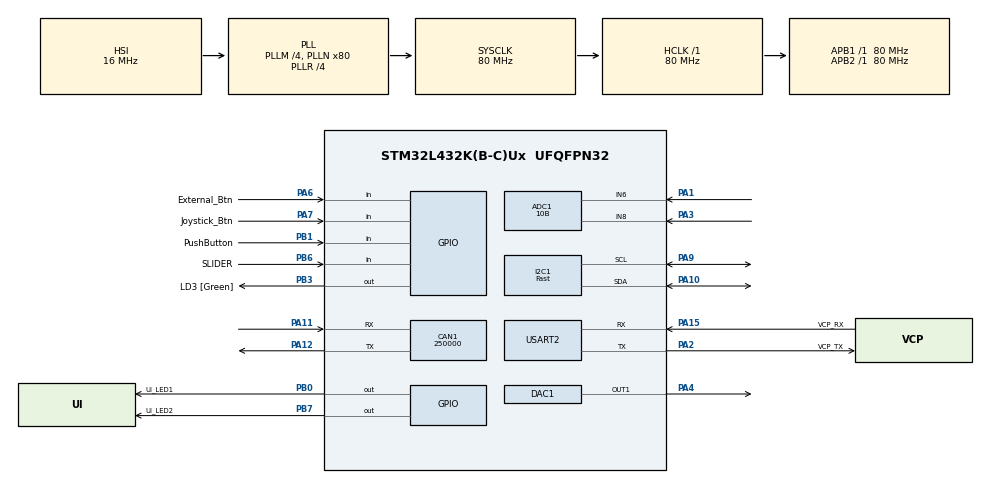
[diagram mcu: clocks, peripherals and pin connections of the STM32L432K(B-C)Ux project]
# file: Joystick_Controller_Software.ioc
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ADC1.ClockPrescaler=ADC_CLOCK_ASYNC_DIV64
ADC1.ContinuousConvMode=DISABLE
ADC1.DiscontinuousConvMode=ENABLE
ADC1.EnableInjectedConversion=ENABLE
ADC1.EnableRegularConversion=DISABLE
ADC1.InjMonitoredBy-2\#ChannelInjectedConversion=__NULL
ADC1.InjMonitoredBy-3\#ChannelInjectedConversion=__NULL
ADC1.InjNumberOfConversion=2
ADC1.InjectedChannel-2\#ChannelInjectedConversion=ADC_CHANNEL_6
ADC1.InjectedChannel-3\#ChannelInjectedConversion=ADC_CHANNEL_8
ADC1.InjectedOffsetNumber-2\#ChannelInjectedConversion=ADC_OFFSET_NONE
ADC1.InjectedOffsetNumber-3\#ChannelInjectedConversion=ADC_OFFSET_NONE
ADC1.InjectedRank-2\#ChannelInjectedConversion=1
ADC1.InjectedRank-3\#ChannelInjectedConversion=2
ADC1.InjectedSamplingTime-2\#ChannelInjectedConversion=ADC_SAMPLETIME_2CYCLES_5
ADC1.InjectedSamplingTime-3\#ChannelInjectedConversion=ADC_SAMPLETIME_2CYCLES_5
ADC1.NbrOfDiscConversion=2
ADC1.Rank1_Channel=ADC_CHANNEL_6
ADC1.Rank2_Channel=ADC_CHANNEL_8
ADC1.Resolution=ADC_RESOLUTION_10B
ADC1.master=1
CAN1.BS1=CAN_BS1_11TQ
CAN1.BS2=CAN_BS2_8TQ
CAN1.CalculateBaudRate=250000
CAN1.CalculateTimeBit=4000
CAN1.CalculateTimeQuantum=200.0
Dma.ADC1.0.Direction=DMA_PERIPH_TO_MEMORY
Dma.ADC1.0.Instance=DMA1_Channel1
Dma.ADC1.0.MemDataAlignment=DMA_MDATAALIGN_HALFWORD
Dma.ADC1.0.MemInc=DMA_MINC_ENABLE
Dma.ADC1.0.Mode=DMA_CIRCULAR
Dma.ADC1.0.PeriphDataAlignment=DMA_PDATAALIGN_HALFWORD
Dma.ADC1.0.PeriphInc=DMA_PINC_DISABLE
Dma.ADC1.0.Priority=DMA_PRIORITY_LOW
Dma.Request0=ADC1
I2C1.I2C_Rise_Time=0
I2C1.I2C_Speed_Mode=I2C_Fast
I2C1.Timing=0x00712989
Mcu.Family=STM32L4
Mcu.Name=STM32L432K(B-C)Ux
Mcu.Package=UFQFPN32
NVIC.ADC1_IRQn=true\:2\:0\:true\:false\:true\:true\:true\:true
NVIC.CAN1_RX0_IRQn=true\:1\:0\:true\:false\:true\:true\:true\:true
NVIC.CAN1_TX_IRQn=true\:1\:0\:true\:false\:true\:true\:true\:true
NVIC.DMA1_Channel1_IRQn=true\:0\:0\:false\:false\:true\:false\:true\:true
NVIC.PriorityGroup=NVIC_PRIORITYGROUP_4
NVIC.TIM2_IRQn=true\:0\:0\:false\:false\:true\:true\:true\:true
PA1.Signal=ADCx_IN6
PA10.Mode=I2C
PA10.Signal=I2C1_SDA
PA11.Mode=CAN_Activate
PA11.Signal=CAN1_RX
PA12.Mode=CAN_Activate
PA12.Signal=CAN1_TX
PA13\ (JTMS-SWDIO).GPIO_Label=SWDIO
PA13\ (JTMS-SWDIO).Mode=Serial_Wire
PA13\ (JTMS-SWDIO).Signal=SYS_JTMS-SWDIO
PA14\ (JTCK-SWCLK).GPIO_Label=SWCLK
PA14\ (JTCK-SWCLK).Mode=Serial_Wire
PA14\ (JTCK-SWCLK).Signal=SYS_JTCK-SWCLK
PA15\ (JTDI).GPIO_Label=VCP_RX
PA15\ (JTDI).Mode=Asynchronous
PA15\ (JTDI).Signal=USART2_RX
PA2.GPIO_Label=VCP_TX
PA2.Mode=Asynchronous
PA2.Signal=USART2_TX
PA3.Signal=ADCx_IN8
PA4.Signal=COMP_DAC11_group
PA5.Signal=ADCx_IN10
PA6.GPIO_Label=External_Btn
PA6.Signal=GPIO_Input
PA7.GPIO_Label=Joystick_Btn
PA7.Signal=GPIO_Input
PA9.Mode=I2C
PA9.Signal=I2C1_SCL
PB0.GPIO_Label=UI_LED1
PB0.GPIO_ModeDefaultOutputPP=GPIO_MODE_OUTPUT_OD
PB0.GPIO_PuPd=GPIO_NOPULL
PB0.Signal=GPIO_Output
PB1.GPIO_Label=PushButton
PB1.Signal=GPIO_Input
PB3\ (JTDO-TRACESWO).GPIO_Label=LD3 [Green]
PB3\ (JTDO-TRACESWO).Signal=GPIO_Output
PB6.GPIO_Label=SLIDER
PB6.Signal=GPIO_Input
PB7.GPIO_Label=UI_LED2
PB7.GPIO_ModeDefaultOutputPP=GPIO_MODE_OUTPUT_OD
PB7.GPIO_PuPd=GPIO_NOPULL
PB7.Signal=GPIO_Output
PC14-OSC32_IN\ (PC14).Mode=LSE-External-Oscillator
PC14-OSC32_IN\ (PC14).Signal=RCC_OSC32_IN
PC15-OSC32_OUT\ (PC15).Mode=LSE-External-Oscillator
PC15-OSC32_OUT\ (PC15).Signal=RCC_OSC32_OUT
ProjectManager.HeapSize=0x200
ProjectManager.StackSize=0x400
ProjectManager.TargetToolchain=STM32CubeIDE
RCC.ADCFreq_Value=32000000
RCC.AHBFreq_Value=80000000
RCC.APB1Freq_Value=80000000
RCC.APB1TimFreq_Value=80000000
RCC.APB2Freq_Value=80000000
RCC.APB2TimFreq_Value=80000000
RCC.CortexFreq_Value=80000000
RCC.HCLKFreq_Value=80000000
RCC.HSE_VALUE=8000000
RCC.HSI16_VALUE=16000000
RCC.HSI48_VALUE=48000000
RCC.HSI_VALUE=16000000
RCC.I2C1CLockSelection=RCC_I2C1CLKSOURCE_SYSCLK
RCC.MSI_VALUE=4000000
RCC.PLLM=4
RCC.PLLMUL=RCC_PLLMUL_4
RCC.PLLN=80
RCC.PLLR=RCC_PLLR_DIV4
RCC.PLLSAI1N=16
RCC.PLLSourceVirtual=RCC_PLLSOURCE_HSI
RCC.SYSCLKFreq_VALUE=80000000
RCC.SYSCLKSource=RCC_SYSCLKSOURCE_PLLCLK
RCC.USBFreq_Value=32000000
RCC.VCOOutputFreq_Value=320000000
SH.ADCx_IN10.0=ADC1_IN10
SH.ADCx_IN6.0=ADC1_IN6,IN6-Single-Ended
SH.ADCx_IN8.0=ADC1_IN8,IN8-Single-Ended
SH.COMP_DAC11_group.0=DAC1_OUT1,DAC_OUT1
TIM2.Period=999
TIM2.Prescaler=79
USART2.VirtualMode-Asynchronous=VM_ASYNC
VP_TIM2_VS_ClockSourceINT.Mode=Internal
board=NUCLEO-L432KC

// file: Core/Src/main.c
/* USER CODE BEGIN Header */
/**
  ******************************************************************************
  * @file           : main.c
  * @brief          : Main program body
  ******************************************************************************
  * @attention
  *
  * Copyright (c) 2026 STMicroelectronics.
  * All rights reserved.
  *
  * This software is licensed under terms that can be found in the LICENSE file
  * in the root directory of this software component.
  * If no LICENSE file comes with this software, it is provided AS-IS.
  *
  ******************************************************************************
  */
/* USER CODE END Header */
#include "main.h"

/* USER CODE BEGIN Includes */

#include "Project_Defines.h"
//#include "301/CO_ODinterface.h"

/* USER CODE END Includes */

ADC_HandleTypeDef hadc1;
DMA_HandleTypeDef hdma_adc1;

CAN_HandleTypeDef hcan1;

DAC_HandleTypeDef hdac1;

I2C_HandleTypeDef hi2c1;

TIM_HandleTypeDef htim2;

UART_HandleTypeDef huart2;

/* USER CODE BEGIN PV */

Nunchuck_ST Nunchuck_1;
Joystick js;
bool switch_Nunchuck_Joystick = false;

uint32_t adc_ch6 = 0; // Channel 6 of the ADC
uint32_t adc_ch8 = 0; // Channel 8 of the ADC
bool lectureADC = false;
I2C_HandleTypeDef *phi2c1;

/* USER CODE END PV */

void SystemClock_Config(void);
static void MX_GPIO_Init(void);
static void MX_DMA_Init(void);
static void MX_USART2_UART_Init(void);
static void MX_ADC1_Init(void);
static void MX_CAN1_Init(void);
static void MX_DAC1_Init(void);
static void MX_TIM2_Init(void);
static void MX_I2C1_Init(void);
/* USER CODE BEGIN PFP */

void physicalSwitch(){

	//Lit et stock l'état du switch
	switch_Nunchuck_Joystick = HAL_GPIO_ReadPin(SLIDER_GPIO_Port, SLIDER_Pin);

	static bool old_switch_Nunchuck_Joystick = false;

	//Active ou désactive les modes joystick et nunchuck
	if (switch_Nunchuck_Joystick != old_switch_Nunchuck_Joystick){
		if (switch_Nunchuck_Joystick){
			//Mode nunchuck
			XF_post(nunchuckProcess, E_SEND, 0);
		} else {
			//Mode joystick
			XF_post(nunchuckProcess, E_NON_USED, 0);
			XF_post(joystickProssess, E_DEFAULT, 0);
		}
	}
	old_switch_Nunchuck_Joystick = switch_Nunchuck_Joystick;

}

void Nunchuck_Init(){

	uint8_t data[2];

	data[0] = 0xF0;
	data[1] = 0x55;

	HAL_I2C_Master_Transmit(&hi2c1, NUNCHUCK_ADRR, data, 2, HAL_MAX_DELAY);

	HAL_Delay(10);

	//----------------------------

	data[0] = 0xFB;
	data[1] = 0x00;

	HAL_I2C_Master_Transmit(&hi2c1, NUNCHUCK_ADRR, data, 2, HAL_MAX_DELAY);

	HAL_Delay(10);

}

/* USER CODE END PFP */

/* USER CODE BEGIN 0 */
CANopenNodeSTM32 canOpenNodeSTM32;

static ODR_t storeCallback(OD_stream_t *stream, const void *buf,OD_size_t count, OD_size_t *countWritten)
{
	if (stream->subIndex == 4) // save manufacturer defined parameters (subindex 4)
	{
		if(strncmp(buf,"save",4) == 0) // check if «save» string has been written (Byte0‐3)
		{
			FlashErase(1); // erase flash
			FlashWrite(0,0x1234567812345678); // signature

			FlashWrite(ZEROLIMIT_ADR,OD_PERSIST_COMM.x2001_zeroLimit); // save your parameters values
			FlashWrite(NUNCHUCK_OFFSET_ADR,OD_PERSIST_COMM.x2002_nunchuckOffsets); // save your parameters values
			FlashWrite(JOYSTICK_OFFSET_ADR,OD_PERSIST_COMM.x2003_joystickOffsets); // save your parameters values
			FlashWrite(TRESHOLD_NEW_VALUE_ADR,OD_PERSIST_COMM.x2004_treshold_NewValue); // save your parameters values
		}
	}
}

static OD_extension_t my_extensionJoystick;

void mapCallbacks(OD_t *od) {

	/* Find the OD entry for Index 0x1010 */
	OD_entry_t *entry = OD_find(od, 0x1010); // Find the OD entry for joystick value
	if (entry != NULL) {
		// Assign the custom write function (set read to NULL if not needed)
		my_extensionJoystick.read = NULL;
		my_extensionJoystick.write = storeCallback;
		my_extensionJoystick.object = NULL; // Can be used to store private data
		// Register the extension to the OD entry
		OD_extension_init(entry, &my_extensionJoystick);
	}
}

void HAL_TIM_PeriodElapsedCallback(TIM_HandleTypeDef *htim)
{
	// you can check the good timer ... if(htim ...
	canopen_app_interrupt();
	XF_decrementAndQueueTimers();
}

void HAL_ADCEx_InjectedConvCpltCallback(ADC_HandleTypeDef* hadc){
	if(hadc->Instance == ADC1){
		adc_ch6 = HAL_ADCEx_InjectedGetValue(hadc, ADC_INJECTED_RANK_1);
		adc_ch8 = HAL_ADCEx_InjectedGetValue(hadc, ADC_INJECTED_RANK_2);
	}
}

/* USER CODE END 0 */

int main(void)
{

  /* MCU Configuration--------------------------------------------------------*/

  /* Reset of all peripherals, Initializes the Flash interface and the Systick. */
  HAL_Init();

  /* Configure the system clock */
  SystemClock_Config();

  /* Initialize all configured peripherals */
  MX_GPIO_Init();
  MX_DMA_Init();
  MX_USART2_UART_Init();
  MX_ADC1_Init();
  MX_CAN1_Init();
  MX_DAC1_Init();
  MX_TIM2_Init();
  MX_I2C1_Init();
  /* USER CODE BEGIN 2 */
  HAL_TIM_Base_Start_IT(&htim2);

  XF_init();

  // before canopen_app_init()
  if(FlashRead(0) == 0x1234567812345678)
  {
	  OD_PERSIST_COMM.x2001_zeroLimit = FlashRead(ZEROLIMIT_ADR);
	  OD_PERSIST_COMM.x2002_nunchuckOffsets[0] = FlashRead(NUNCHUCK_OFFSET_ADR);
	  OD_PERSIST_COMM.x2002_nunchuckOffsets[1] = FlashRead(NUNCHUCK_OFFSET_ADR + 8);

	  OD_PERSIST_COMM.x2003_joystickOffsets[0] = FlashRead(JOYSTICK_OFFSET_ADR);
	  OD_PERSIST_COMM.x2003_joystickOffsets[1] = FlashRead(JOYSTICK_OFFSET_ADR + 8);

	  OD_PERSIST_COMM.x2004_treshold_NewValue = FlashRead(TRESHOLD_NEW_VALUE_ADR);
  }
//  else
//  {
//	  FlashErase(1);
//	  FlashWrite(0, 0x1234567812345678);
//
//	  FlashWrite(8, OD_PERSIST_COMM.x2001_zeroLimit);
//	  FlashWrite(24, OD_PERSIST_COMM.x2003_joystickOffsets[0]);
//	  FlashWrite(32, OD_PERSIST_COMM.x2003_joystickOffsets[1]);
//  }

  // 1. Map the CANopen instance to your hardware (hcan1 is usually defined by CubeMX)
  canOpenNodeSTM32.CANHandle = &hcan1;
  // 2. Set your hardware initialization function (defined in can.c)
  canOpenNodeSTM32.HWInitFunction = MX_CAN1_Init;
  // 3. Map the timer used for CANopen heartbeat and fast tasks (e.g., TIM2)
  canOpenNodeSTM32.timerHandle = &htim2;
  // 4. Configure Node‐ID (1‐127) and Baudrate (e.g., 125, 250, 500, 1000)
  canOpenNodeSTM32.desiredNodeID = 8;
  canOpenNodeSTM32.baudrate = 250;
  // 5. Initialize the application
  mapCallbacks(OD);
  canopen_app_init(&canOpenNodeSTM32);

  //Initialise le nunchuck
  Nunchuck_Init();

  //Initialise les machines d'état
  XF_post(nunchuckProcess, E_INIT, 0);
  XF_post(joystickProssess, E_INIT, 0);

  //On indique NON_USED à la machine d'état nunchuck si le switch est par défault sur joystick
  if(!HAL_GPIO_ReadPin(SLIDER_GPIO_Port, SLIDER_Pin)) XF_post(nunchuckProcess, E_NON_USED, 0);

  //Affectation du pointer sur l'adresse de l'i2c pour avoir accès depuis tout les fichiers
  phi2c1 = &hi2c1;

  /* USER CODE END 2 */

  /* Infinite loop */
  /* USER CODE BEGIN WHILE */
  while (1)
  {
	  canopen_app_process();

    /* USER CODE END WHILE */

    /* USER CODE BEGIN 3 */

	  XF_executeOnce();

	  physicalSwitch();

	  if(lectureADC){
		  HAL_ADCEx_InjectedStart_IT(&hadc1);
		  lectureADC = false;
	  }

  }
  /* USER CODE END 3 */
}

void SystemClock_Config(void)
{
  RCC_OscInitTypeDef RCC_OscInitStruct = {0};
  RCC_ClkInitTypeDef RCC_ClkInitStruct = {0};

  /** Configure the main internal regulator output voltage
  */
  if (HAL_PWREx_ControlVoltageScaling(PWR_REGULATOR_VOLTAGE_SCALE1) != HAL_OK)
  {
    Error_Handler();
  }

  /** Initializes the RCC Oscillators according to the specified parameters
  * in the RCC_OscInitTypeDef structure.
  */
  RCC_OscInitStruct.OscillatorType = RCC_OSCILLATORTYPE_HSI;
  RCC_OscInitStruct.HSIState = RCC_HSI_ON;
  RCC_OscInitStruct.HSICalibrationValue = RCC_HSICALIBRATION_DEFAULT;
  RCC_OscInitStruct.PLL.PLLState = RCC_PLL_ON;
  RCC_OscInitStruct.PLL.PLLSource = RCC_PLLSOURCE_HSI;
  RCC_OscInitStruct.PLL.PLLM = 4;
  RCC_OscInitStruct.PLL.PLLN = 80;
  RCC_OscInitStruct.PLL.PLLP = RCC_PLLP_DIV7;
  RCC_OscInitStruct.PLL.PLLQ = RCC_PLLQ_DIV2;
  RCC_OscInitStruct.PLL.PLLR = RCC_PLLR_DIV4;
  if (HAL_RCC_OscConfig(&RCC_OscInitStruct) != HAL_OK)
  {
    Error_Handler();
  }

  /** Initializes the CPU, AHB and APB buses clocks
  */
  RCC_ClkInitStruct.ClockType = RCC_CLOCKTYPE_HCLK|RCC_CLOCKTYPE_SYSCLK
                              |RCC_CLOCKTYPE_PCLK1|RCC_CLOCKTYPE_PCLK2;
  RCC_ClkInitStruct.SYSCLKSource = RCC_SYSCLKSOURCE_PLLCLK;
  RCC_ClkInitStruct.AHBCLKDivider = RCC_SYSCLK_DIV1;
  RCC_ClkInitStruct.APB1CLKDivider = RCC_HCLK_DIV1;
  RCC_ClkInitStruct.APB2CLKDivider = RCC_HCLK_DIV1;

  if (HAL_RCC_ClockConfig(&RCC_ClkInitStruct, FLASH_LATENCY_4) != HAL_OK)
  {
    Error_Handler();
  }
}

static void MX_ADC1_Init(void)
{

  ADC_InjectionConfTypeDef sConfigInjected = {0};

  /** Common config
  */
  hadc1.Instance = ADC1;
  hadc1.Init.ClockPrescaler = ADC_CLOCK_ASYNC_DIV64;
  hadc1.Init.Resolution = ADC_RESOLUTION_10B;
  hadc1.Init.DataAlign = ADC_DATAALIGN_RIGHT;
  hadc1.Init.ScanConvMode = ADC_SCAN_ENABLE;
  hadc1.Init.EOCSelection = ADC_EOC_SINGLE_CONV;
  hadc1.Init.LowPowerAutoWait = DISABLE;
  hadc1.Init.ContinuousConvMode = DISABLE;
  hadc1.Init.NbrOfConversion = 1;
  hadc1.Init.DiscontinuousConvMode = ENABLE;
  hadc1.Init.NbrOfDiscConversion = 2;
  hadc1.Init.DMAContinuousRequests = DISABLE;
  hadc1.Init.Overrun = ADC_OVR_DATA_PRESERVED;
  hadc1.Init.OversamplingMode = DISABLE;
  if (HAL_ADC_Init(&hadc1) != HAL_OK)
  {
    Error_Handler();
  }

  /** Disable Injected Queue
  */
  HAL_ADCEx_DisableInjectedQueue(&hadc1);

  /** Configure Injected Channel
  */
  sConfigInjected.InjectedChannel = ADC_CHANNEL_6;
  sConfigInjected.InjectedRank = ADC_INJECTED_RANK_1;
  sConfigInjected.InjectedSamplingTime = ADC_SAMPLETIME_2CYCLES_5;
  sConfigInjected.InjectedSingleDiff = ADC_SINGLE_ENDED;
  sConfigInjected.InjectedOffsetNumber = ADC_OFFSET_NONE;
  sConfigInjected.InjectedOffset = 0;
  sConfigInjected.InjectedNbrOfConversion = 2;
  sConfigInjected.InjectedDiscontinuousConvMode = DISABLE;
  sConfigInjected.AutoInjectedConv = DISABLE;
  sConfigInjected.QueueInjectedContext = DISABLE;
  sConfigInjected.ExternalTrigInjecConv = ADC_INJECTED_SOFTWARE_START;
  sConfigInjected.ExternalTrigInjecConvEdge = ADC_EXTERNALTRIGINJECCONV_EDGE_NONE;
  sConfigInjected.InjecOversamplingMode = DISABLE;
  if (HAL_ADCEx_InjectedConfigChannel(&hadc1, &sConfigInjected) != HAL_OK)
  {
    Error_Handler();
  }

  /** Configure Injected Channel
  */
  sConfigInjected.InjectedChannel = ADC_CHANNEL_8;
  sConfigInjected.InjectedRank = ADC_INJECTED_RANK_2;
  if (HAL_ADCEx_InjectedConfigChannel(&hadc1, &sConfigInjected) != HAL_OK)
  {
    Error_Handler();
  }

}

static void MX_CAN1_Init(void)
{

  hcan1.Instance = CAN1;
  hcan1.Init.Prescaler = 16;
  hcan1.Init.Mode = CAN_MODE_NORMAL;
  hcan1.Init.SyncJumpWidth = CAN_SJW_1TQ;
  hcan1.Init.TimeSeg1 = CAN_BS1_11TQ;
  hcan1.Init.TimeSeg2 = CAN_BS2_8TQ;
  hcan1.Init.TimeTriggeredMode = DISABLE;
  hcan1.Init.AutoBusOff = DISABLE;
  hcan1.Init.AutoWakeUp = DISABLE;
  hcan1.Init.AutoRetransmission = DISABLE;
  hcan1.Init.ReceiveFifoLocked = DISABLE;
  hcan1.Init.TransmitFifoPriority = DISABLE;
  if (HAL_CAN_Init(&hcan1) != HAL_OK)
  {
    Error_Handler();
  }

}

static void MX_DAC1_Init(void)
{

  DAC_ChannelConfTypeDef sConfig = {0};

  /** DAC Initialization
  */
  hdac1.Instance = DAC1;
  if (HAL_DAC_Init(&hdac1) != HAL_OK)
  {
    Error_Handler();
  }

  /** DAC channel OUT1 config
  */
  sConfig.DAC_SampleAndHold = DAC_SAMPLEANDHOLD_DISABLE;
  sConfig.DAC_Trigger = DAC_TRIGGER_NONE;
  sConfig.DAC_OutputBuffer = DAC_OUTPUTBUFFER_ENABLE;
  sConfig.DAC_ConnectOnChipPeripheral = DAC_CHIPCONNECT_DISABLE;
  sConfig.DAC_UserTrimming = DAC_TRIMMING_FACTORY;
  if (HAL_DAC_ConfigChannel(&hdac1, &sConfig, DAC_CHANNEL_1) != HAL_OK)
  {
    Error_Handler();
  }

}

static void MX_I2C1_Init(void)
{

  hi2c1.Instance = I2C1;
  hi2c1.Init.Timing = 0x00712989;
  hi2c1.Init.OwnAddress1 = 0;
  hi2c1.Init.AddressingMode = I2C_ADDRESSINGMODE_7BIT;
  hi2c1.Init.DualAddressMode = I2C_DUALADDRESS_DISABLE;
  hi2c1.Init.OwnAddress2 = 0;
  hi2c1.Init.OwnAddress2Masks = I2C_OA2_NOMASK;
  hi2c1.Init.GeneralCallMode = I2C_GENERALCALL_DISABLE;
  hi2c1.Init.NoStretchMode = I2C_NOSTRETCH_DISABLE;
  if (HAL_I2C_Init(&hi2c1) != HAL_OK)
  {
    Error_Handler();
  }

  /** Configure Analogue filter
  */
  if (HAL_I2CEx_ConfigAnalogFilter(&hi2c1, I2C_ANALOGFILTER_ENABLE) != HAL_OK)
  {
    Error_Handler();
  }

  /** Configure Digital filter
  */
  if (HAL_I2CEx_ConfigDigitalFilter(&hi2c1, 0) != HAL_OK)
  {
    Error_Handler();
  }

}

static void MX_TIM2_Init(void)
{

  TIM_ClockConfigTypeDef sClockSourceConfig = {0};
  TIM_MasterConfigTypeDef sMasterConfig = {0};

  htim2.Instance = TIM2;
  htim2.Init.Prescaler = 79;
  htim2.Init.CounterMode = TIM_COUNTERMODE_UP;
  htim2.Init.Period = 999;
  htim2.Init.ClockDivision = TIM_CLOCKDIVISION_DIV1;
  htim2.Init.AutoReloadPreload = TIM_AUTORELOAD_PRELOAD_DISABLE;
  if (HAL_TIM_Base_Init(&htim2) != HAL_OK)
  {
    Error_Handler();
  }
  sClockSourceConfig.ClockSource = TIM_CLOCKSOURCE_INTERNAL;
  if (HAL_TIM_ConfigClockSource(&htim2, &sClockSourceConfig) != HAL_OK)
  {
    Error_Handler();
  }
  sMasterConfig.MasterOutputTrigger = TIM_TRGO_RESET;
  sMasterConfig.MasterSlaveMode = TIM_MASTERSLAVEMODE_DISABLE;
  if (HAL_TIMEx_MasterConfigSynchronization(&htim2, &sMasterConfig) != HAL_OK)
  {
    Error_Handler();
  }

}

static void MX_USART2_UART_Init(void)
{

  huart2.Instance = USART2;
  huart2.Init.BaudRate = 115200;
  huart2.Init.WordLength = UART_WORDLENGTH_8B;
  huart2.Init.StopBits = UART_STOPBITS_1;
  huart2.Init.Parity = UART_PARITY_NONE;
  huart2.Init.Mode = UART_MODE_TX_RX;
  huart2.Init.HwFlowCtl = UART_HWCONTROL_NONE;
  huart2.Init.OverSampling = UART_OVERSAMPLING_16;
  huart2.Init.OneBitSampling = UART_ONE_BIT_SAMPLE_DISABLE;
  huart2.AdvancedInit.AdvFeatureInit = UART_ADVFEATURE_NO_INIT;
  if (HAL_UART_Init(&huart2) != HAL_OK)
  {
    Error_Handler();
  }

}

static void MX_DMA_Init(void)
{

  /* DMA controller clock enable */
  __HAL_RCC_DMA1_CLK_ENABLE();

  /* DMA interrupt init */
  /* DMA1_Channel1_IRQn interrupt configuration */
  HAL_NVIC_SetPriority(DMA1_Channel1_IRQn, 0, 0);
  HAL_NVIC_EnableIRQ(DMA1_Channel1_IRQn);

}

static void MX_GPIO_Init(void)
{
  GPIO_InitTypeDef GPIO_InitStruct = {0};

  /* GPIO Ports Clock Enable */
  __HAL_RCC_GPIOC_CLK_ENABLE();
  __HAL_RCC_GPIOA_CLK_ENABLE();
  __HAL_RCC_GPIOB_CLK_ENABLE();

  /*Configure GPIO pin Output Level */
  HAL_GPIO_WritePin(GPIOB, UI_LED1_Pin|LD3_Pin|UI_LED2_Pin, GPIO_PIN_RESET);

  /*Configure GPIO pins : External_Btn_Pin Joystick_Btn_Pin */
  GPIO_InitStruct.Pin = External_Btn_Pin|Joystick_Btn_Pin;
  GPIO_InitStruct.Mode = GPIO_MODE_INPUT;
  GPIO_InitStruct.Pull = GPIO_NOPULL;
  HAL_GPIO_Init(GPIOA, &GPIO_InitStruct);

  /*Configure GPIO pins : UI_LED1_Pin UI_LED2_Pin */
  GPIO_InitStruct.Pin = UI_LED1_Pin|UI_LED2_Pin;
  GPIO_InitStruct.Mode = GPIO_MODE_OUTPUT_OD;
  GPIO_InitStruct.Pull = GPIO_NOPULL;
  GPIO_InitStruct.Speed = GPIO_SPEED_FREQ_LOW;
  HAL_GPIO_Init(GPIOB, &GPIO_InitStruct);

  /*Configure GPIO pins : PushButton_Pin SLIDER_Pin */
  GPIO_InitStruct.Pin = PushButton_Pin|SLIDER_Pin;
  GPIO_InitStruct.Mode = GPIO_MODE_INPUT;
  GPIO_InitStruct.Pull = GPIO_NOPULL;
  HAL_GPIO_Init(GPIOB, &GPIO_InitStruct);

  /*Configure GPIO pin : LD3_Pin */
  GPIO_InitStruct.Pin = LD3_Pin;
  GPIO_InitStruct.Mode = GPIO_MODE_OUTPUT_PP;
  GPIO_InitStruct.Pull = GPIO_NOPULL;
  GPIO_InitStruct.Speed = GPIO_SPEED_FREQ_LOW;
  HAL_GPIO_Init(LD3_GPIO_Port, &GPIO_InitStruct);

}

void Error_Handler(void)
{
  __disable_irq();
  while (1)
  {
  }
}
